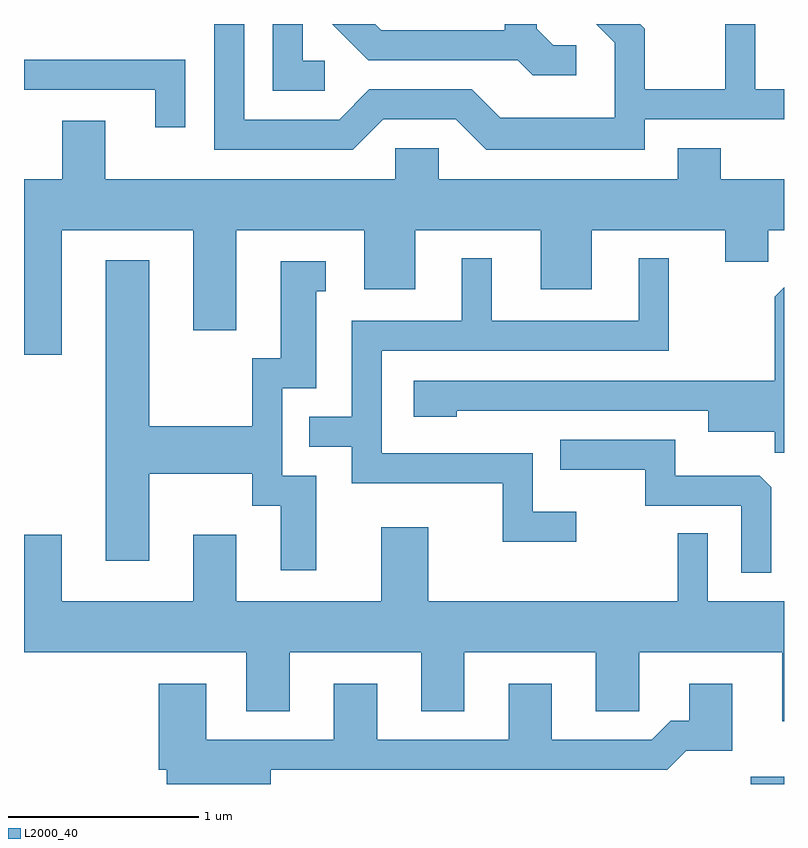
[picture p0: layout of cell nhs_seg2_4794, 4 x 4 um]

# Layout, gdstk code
import gdstk
lib = gdstk.Library(unit=1e-6, precision=1e-09)
def R(c, l, rs):  # rectangles x0, y0, x1, y1
    for r in rs: c.add(gdstk.rectangle(r[:2], r[2:], *l))
def P(c, l, *ps):  # polygons
    for p in ps: c.add(gdstk.Polygon(p, *l))
L2000_40 = (2000, 40)

nhs_seg2_4794 = lib.new_cell('nhs_seg2_4794')
R(nhs_seg2_4794, L2000_40, [(329.436,1089.802,329.611,1089.839)])
P(nhs_seg2_4794, L2000_40, [(328.518,1093.689),(328.397,1093.689),(328.309,1093.777),(328.309,1093.802),(328.141,1093.802),(328.141,1093.769),(327.492,1093.769),(327.459,1093.802),(327.233,1093.802),(327.424,1093.611),(328.209,1093.611),(328.289,1093.531),(328.518,1093.531)],
  [(327.193,1093.609),(327.079,1093.609),(327.079,1093.802),(326.921,1093.802),(326.921,1093.451),(327.193,1093.451)],
  [(327.502,1093.301),(327.884,1093.301),(328.044,1093.141),(328.879,1093.141),(328.879,1093.301),(329.611,1093.301),(329.611,1093.459),(329.459,1093.459),(329.459,1093.802),(329.301,1093.802),(329.301,1093.459),(328.879,1093.459),(328.879,1093.777),(328.854,1093.802),(328.623,1093.802),(328.721,1093.704),(328.721,1093.309),(328.117,1093.309),(327.967,1093.459),(327.429,1093.459),(327.269,1093.299),(326.769,1093.299),(326.769,1093.802),(326.611,1093.802),(326.611,1093.141),(327.342,1093.141)],
  [(326.459,1093.614),(325.611,1093.614),(325.611,1093.456),(326.301,1093.456),(326.301,1093.258),(326.459,1093.258)],
  [(325.809,1092.716),(326.501,1092.716),(326.501,1092.191),(326.729,1092.191),(326.729,1092.716),(327.401,1092.716),(327.401,1092.406),(327.669,1092.406),(327.669,1092.716),(328.331,1092.716),(328.331,1092.406),(328.599,1092.406),(328.599,1092.716),(329.301,1092.716),(329.301,1092.551),(329.529,1092.551),(329.529,1092.716),(329.611,1092.716),(329.611,1092.984),(329.279,1092.984),(329.279,1093.149),(329.051,1093.149),(329.051,1092.984),(327.794,1092.984),(327.794,1093.149),(327.566,1093.149),(327.566,1092.984),(326.039,1092.984),(326.039,1093.294),(325.811,1093.294),(325.811,1092.984),(325.611,1092.984),(325.611,1092.061),(325.809,1092.061)],
  [(328.518,1091.234),(328.289,1091.234),(328.289,1091.544),(327.494,1091.544),(327.494,1092.081),(329.004,1092.081),(329.004,1092.568),(328.846,1092.568),(328.846,1092.239),(328.074,1092.239),(328.074,1092.568),(327.916,1092.568),(327.916,1092.239),(327.336,1092.239),(327.336,1091.734),(327.113,1091.734),(327.113,1091.576),(327.336,1091.576),(327.336,1091.386),(328.131,1091.386),(328.131,1091.076),(328.518,1091.076)],
  [(327.149,1091.424),(326.969,1091.424),(326.969,1091.886),(327.149,1091.886),(327.149,1092.396),(327.198,1092.396),(327.198,1092.554),(326.961,1092.554),(326.961,1092.044),(326.811,1092.044),(326.811,1091.684),(326.269,1091.684),(326.269,1092.559),(326.041,1092.559),(326.041,1090.976),(326.269,1090.976),(326.269,1091.436),(326.811,1091.436),(326.811,1091.266),(326.961,1091.266),(326.961,1090.926),(327.149,1090.926)],
  [(329.611,1092.417),(329.561,1092.367),(329.561,1091.924),(327.661,1091.924),(327.661,1091.736),(327.889,1091.736),(327.889,1091.766),(329.211,1091.766),(329.211,1091.656),(329.561,1091.656),(329.561,1091.546),(329.611,1091.546)],
  [(329.544,1091.364),(329.484,1091.424),(329.039,1091.424),(329.039,1091.614),(328.433,1091.614),(328.433,1091.456),(328.881,1091.456),(328.881,1091.266),(329.386,1091.266),(329.386,1090.913),(329.544,1090.913)],
  [(329.611,1090.764),(329.209,1090.764),(329.209,1091.123),(329.051,1091.123),(329.051,1090.764),(327.739,1090.764),(327.739,1091.154),(327.491,1091.154),(327.491,1090.764),(326.729,1090.764),(326.729,1091.114),(326.501,1091.114),(326.501,1090.764),(325.809,1090.764),(325.809,1091.114),(325.611,1091.114),(325.611,1090.496),(326.781,1090.496),(326.781,1090.186),(327.009,1090.186),(327.009,1090.496),(327.701,1090.496),(327.701,1090.186),(327.929,1090.186),(327.929,1090.496),(328.621,1090.496),(328.621,1090.186),(328.849,1090.186),(328.849,1090.496),(329.601,1090.496),(329.601,1090.133),(329.611,1090.133)],
  [(326.909,1089.876),(328.997,1089.876),(329.097,1089.976),(329.339,1089.976),(329.339,1090.329),(329.111,1090.329),(329.111,1090.134),(329.014,1090.134),(328.914,1090.034),(328.389,1090.034),(328.389,1090.329),(328.161,1090.329),(328.161,1090.034),(327.469,1090.034),(327.469,1090.329),(327.241,1090.329),(327.241,1090.034),(326.569,1090.034),(326.569,1090.329),(326.321,1090.329),(326.321,1089.876),(326.361,1089.876),(326.361,1089.802),(326.909,1089.802)])

lib.write_gds('nhs_seg2_4794.gds')
